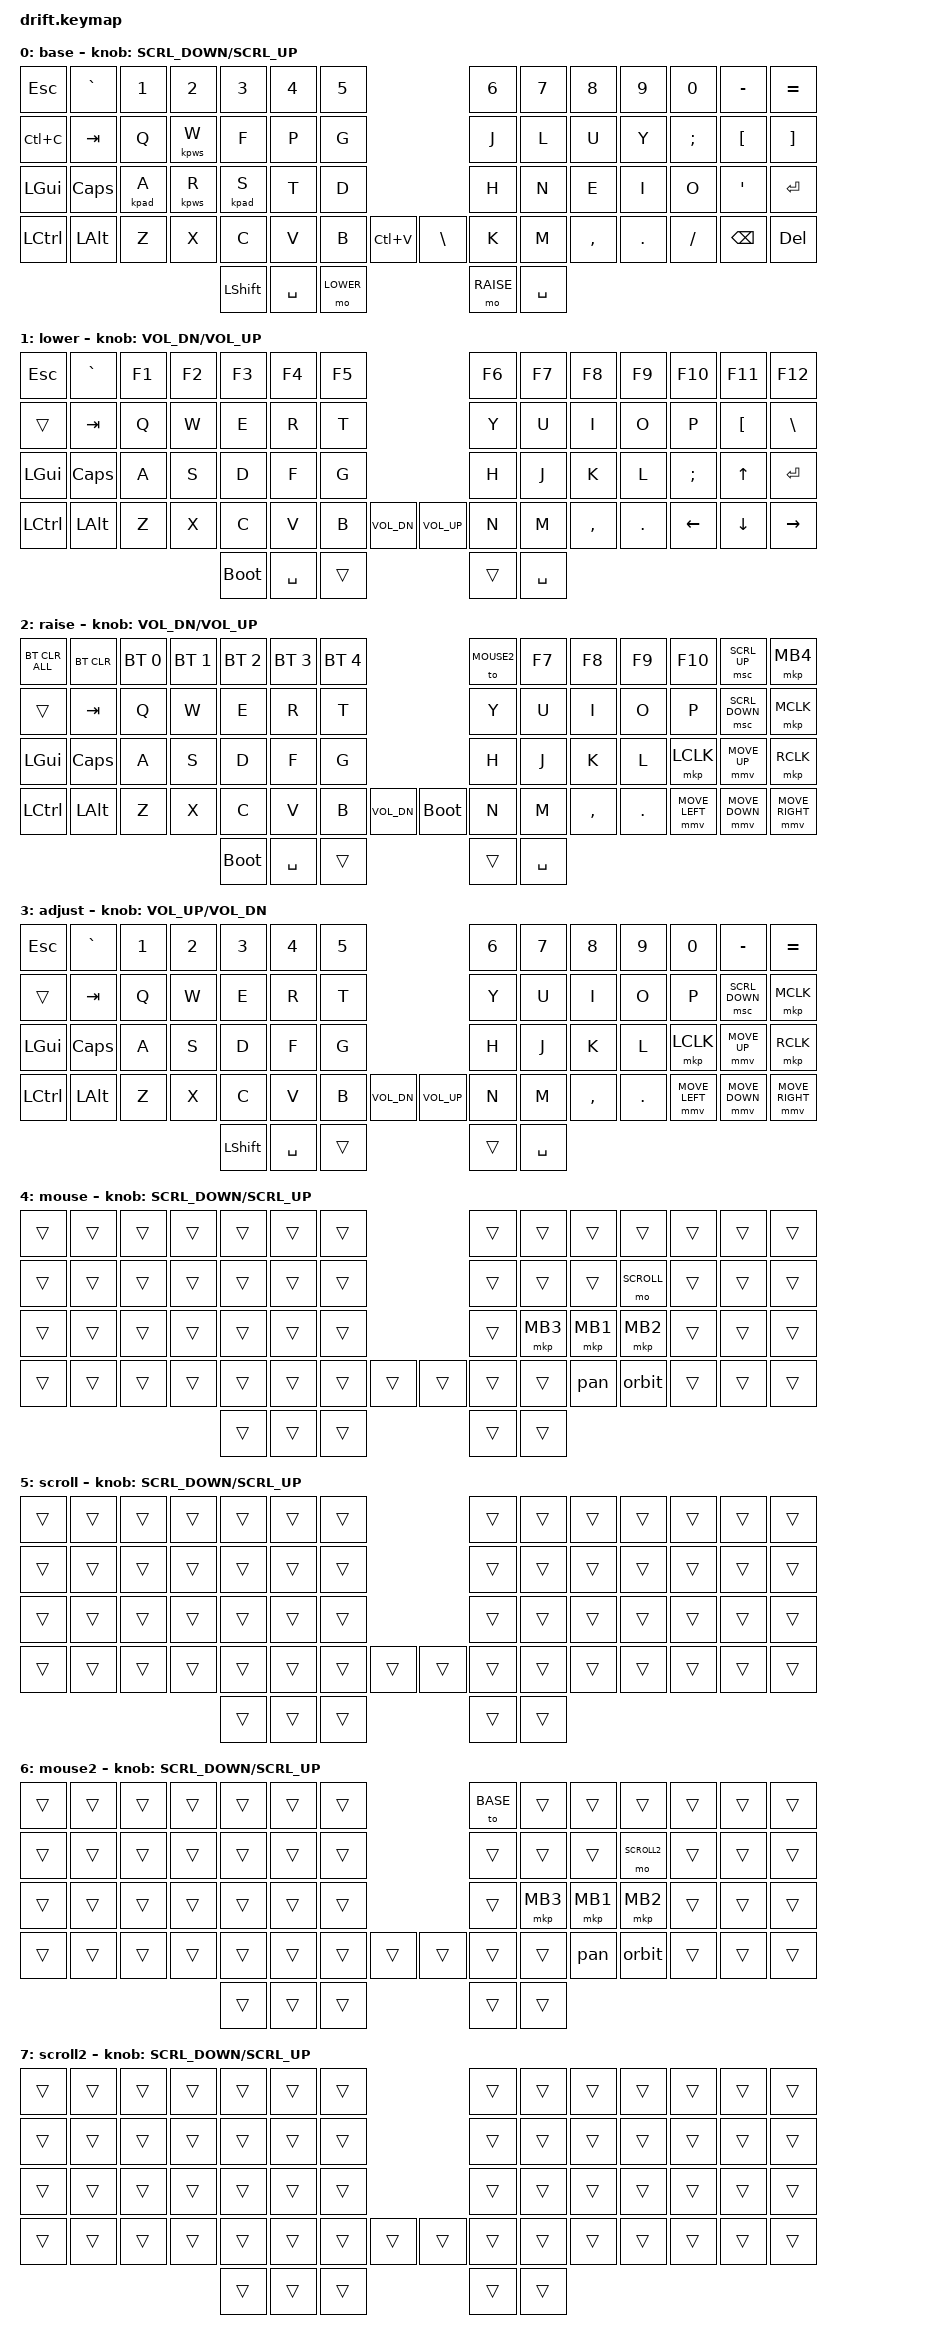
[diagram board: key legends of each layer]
// Copyright (c) 2025 The ZMK Contributors
// SPDX-License-Identifier: MIT

// Default scroll sensitivity for encoder-based scrolling
#define ZMK_POINTING_DEFAULT_SCRL_VAL 100    // default was 10

#include <behaviors.dtsi>
#include <dt-bindings/zmk/bt.h>
#include <input/processors.dtsi>
#include <dt-bindings/zmk/keys.h>
#include <dt-bindings/zmk/mouse.h>
#include <behaviors/mouse_keys.dtsi>
#include <dt-bindings/zmk/pointing.h>
#include <dt-bindings/zmk/input_transform.h>
#include <zephyr/dt-bindings/input/input-event-codes.h>

// Keep all behavior settings visible in ZMK Studio
#define ZMK_BEHAVIORS_OMIT_KT

// Layer indices
#define BASE    0
#define LOWER   1
#define RAISE   2
#define ADJUST  3
#define MOUSE   4
#define SCROLL  5
#define MOUSE2  6
#define SCROLL2 7

// Reference: https://zmk.dev/docs/keymaps/behaviors/

/ {
    conditional_layers {
        compatible = "zmk,conditional-layers";

        tri_layer {
            if-layers = <LOWER RAISE>;
            then-layer = <ADJUST>;
        };
    };

    behaviors {
        enc_scroll: enc_scroller {
            compatible = "zmk,behavior-sensor-rotate-var";
            #sensor-binding-cells = <2>;
            bindings = <&msc>, <&msc>;
            tap-ms = <20>;
        };
		
		/* Setup left and right */
        kpad: key_lip_a_d {
                compatible = "zmk,behavior-key-press-lip";
                #binding-cells = <1>;
                keycodes = <A D>;
        };

        /* Setup up and down */
        kpws: key_lip_w_s {
                compatible = "zmk,behavior-key-press-lip";
                #binding-cells = <1>;
                keycodes = <W S>;
        };
    };

    macros {
        orbit: orbit {
            compatible = "zmk,behavior-macro";
            #binding-cells = <0>;
            bindings =
                <&macro_press &kp LSHIFT &mkp MCLK>,
                <&macro_pause_for_release>,
                <&macro_release &kp LSHIFT &mkp MCLK>;
        };

        pan: pan {
            compatible = "zmk,behavior-macro";
            #binding-cells = <0>;
            bindings =
                <&macro_press &mkp MCLK>,
                <&macro_pause_for_release>,
                <&macro_release &mkp MCLK>;
        };
    };

    keymap {
        compatible = "zmk,keymap";

        // -------------------------------------------------------------------------------
        // BASE Layer
        // -------------------------------------------------------------------------------
        // | ESC | ` | 1 | 2 |  3  |  4  |  5  |         |  6  |  7  | 8 | 9 | 0 | -  | = |
        // |COPY |TAB| Q | W |  F  |  P  |  G  |         |  J  |  L  | U | Y | ; | [  | ] |
        // | GUI |CAP| A | R |  S  |  T  |  D  |         |  H  |  N  | E | I | O | '  |ENT|
        // | CTL |ALT| Z | X |  C  |  V  |  B  |Paste| \ |  K  |  M  | , | . | / |Bspc|Del|
        //                   |Shift|Space|Lower|         |Raise|Space|
        default_layer {
            display-name = "base";
            bindings = <
                &kp ESC    &kp GRAVE &kp N1   &kp N2   &kp N3    &kp N4    &kp N5                       &kp N6    &kp N7    &kp N8    &kp N9  &kp N0   &kp MINUS     &kp EQUAL
                &kp LC(C)  &kp TAB   &kp Q    &kpws W  &kp F     &kp P     &kp G                        &kp J     &kp L     &kp U     &kp Y   &kp SEMI &kp LBKT      &kp RBKT
                &kp LGUI   &kp CAPS  &kpad A  &kpws R  &kpad S   &kp T     &kp D                        &kp H     &kp N     &kp E     &kp I   &kp O    &kp SQT       &kp ENTER
                &kp LCTRL  &kp LALT  &kp Z    &kp X    &kp C     &kp V     &kp B     &kp LC(V) &kp BSLH &kp K     &kp M     &kp COMMA &kp DOT &kp FSLH &kp BACKSPACE &kp DEL
                                                       &kp LSHFT &kp SPACE &mo LOWER                    &mo RAISE &kp SPACE
            >;
            sensor-bindings = <&enc_scroll SCRL_DOWN SCRL_UP>;
        };

        // ------------------------------------------------------------------------
        // LOWER Layer
        // ------------------------------------------------------------------------
        // |Esc | ` |F1 |F2 |F3  | F4  |F5 |         |F6 |  F7 | F8 |F9 |F10|F11|F12|
        // |    |TAB| Q | W | E  |  R  | T |         | Y |  U  | I  | O | P | [ | \ |
        // |GUI |CAP| A | S | D  |  F  | G |         | H |  J  | K  | L | ; | ↑ |Ent|
        // |CTL |ALT| Z | X | C  |  V  | B |Vol-|Vol+| N |  M  | ,  | . | ← | ↓ | → |
        //                  |Boot|Space|   |         |   |Space|
        lower_layer {
            display-name = "lower";
            bindings = <
                &kp ESC   &kp GRAVE &kp F1 &kp F2 &kp F3      &kp F4    &kp F5                           &kp F6  &kp F7    &kp F8    &kp F9    &kp F10        &kp F11        &kp F12
                &trans    &kp TAB   &kp Q  &kp W  &kp E       &kp R     &kp T                            &kp Y   &kp U     &kp I     &kp O     &kp P          &kp LBKT       &kp BACKSLASH
                &kp LGUI  &kp CAPS  &kp A  &kp S  &kp D       &kp F     &kp G                            &kp H   &kp J     &kp K     &kp L     &kp SEMI       &kp UP_ARROW   &kp ENTER
                &kp LCTRL &kp LALT  &kp Z  &kp X  &kp C       &kp V     &kp B  &kp C_VOL_DN &kp C_VOL_UP &kp N   &kp M     &kp COMMA &kp DOT   &kp LEFT_ARROW &kp DOWN_ARROW &kp RIGHT_ARROW
                                                  &bootloader &kp SPACE &trans                           &trans  &kp SPACE
            >;
            sensor-bindings = <&inc_dec_kp C_VOL_DN C_VOL_UP>;
        };

        // ---------------------------------------------------------------------------
        // RAISE Layer
        // ---------------------------------------------------------------------------
        // |ClrAll|Clr|BT1|BT2|BT3 | BT4 |BT5|         |M2 | F7  |F8 |F9 |F10 |Scr↑|MB4 |
        // |      |TAB| Q | W | E  |  R  | T |         | Y |  U  | I | O | P  |Scr↓|MClk|
        // | GUI  |CAP| A | S | D  |  F  | G |         | H |  J  | K | L |LClk| ↑  |RClk|
        // | CTL  |ALT| Z | X | C  |  V  | B |Vol-|Boot| N |  M  | , | . | ←  | ↓  | →  |
        //                    |Boot|Space|   |         |   |Space|
        raise_layer {
            display-name = "raise";
            bindings = <
                &bt BT_CLR_ALL &bt BT_CLR &bt BT_SEL 0 &bt BT_SEL 1 &bt BT_SEL 2 &bt BT_SEL 3  &bt BT_SEL 4                          &to MOUSE2 &kp F7    &kp F8    &kp F9  &kp F10        &msc SCRL_UP   &mkp MB4
                &trans         &kp TAB    &kp Q        &kp W        &kp E        &kp R         &kp T                                 &kp Y      &kp U     &kp I     &kp O   &kp P          &msc SCRL_DOWN &mkp MCLK
                &kp LGUI       &kp CAPS   &kp A        &kp S        &kp D        &kp F         &kp G                                 &kp H      &kp J     &kp K     &kp L   &mkp LCLK      &mmv MOVE_UP   &mkp RCLK
                &kp LCTRL      &kp LALT   &kp Z        &kp X        &kp C        &kp V         &kp B        &kp C_VOL_DN &bootloader &kp N      &kp M     &kp COMMA &kp DOT &mmv MOVE_LEFT &mmv MOVE_DOWN &mmv MOVE_RIGHT
                                                                    &bootloader  &kp SPACE     &trans                                &trans     &kp SPACE
            >;
            sensor-bindings = <&inc_dec_kp C_VOL_DN C_VOL_UP>;
        };

        // ---------------------------------------------------------------------
        // ADJUST Layer
        // ---------------------------------------------------------------------
        // (similar layout as RAISE, but with slightly different mods)
        adjust_layer {
            display-name = "adjust";
            bindings = <
                &kp ESC    &kp GRAVE  &kp N1       &kp N2       &kp N3       &kp N4       &kp N5                                 &kp N6 &kp N7    &kp N8    &kp N9  &kp N0         &kp MINUS      &kp EQUAL
                &trans     &kp TAB    &kp Q        &kp W        &kp E        &kp R        &kp T                                  &kp Y  &kp U     &kp I     &kp O   &kp P          &msc SCRL_DOWN &mkp MCLK
                &kp LGUI   &kp CAPS   &kp A        &kp S        &kp D        &kp F        &kp G                                  &kp H  &kp J     &kp K     &kp L   &mkp LCLK      &mmv MOVE_UP   &mkp RCLK
                &kp LCTRL  &kp LALT   &kp Z        &kp X        &kp C        &kp V        &kp B        &kp C_VOL_DN &kp C_VOL_UP &kp N  &kp M     &kp COMMA &kp DOT &mmv MOVE_LEFT &mmv MOVE_DOWN &mmv MOVE_RIGHT
                                                                &kp LSHFT    &kp SPACE    &trans                                 &trans &kp SPACE
            >;
            sensor-bindings = <&inc_dec_kp C_VOL_UP C_VOL_DN>;
        };

        // ---------------------------------------------------------------------
        // MOUSE Layer
        // ---------------------------------------------------------------------
        // Mostly for orbit/pan macros + mouse buttons
		
        mouse_layer {
            display-name = "mouse";
            bindings = <
                &trans &trans &trans &trans &trans &trans &trans               &trans &trans   &trans   &trans     &trans &trans &trans
                &trans &trans &trans &trans &trans &trans &trans               &trans &trans   &trans   &mo SCROLL &trans &trans &trans
                &trans &trans &trans &trans &trans &trans &trans               &trans &mkp MB3 &mkp MB1 &mkp MB2   &trans &trans &trans
                &trans &trans &trans &trans &trans &trans &trans &trans &trans &trans &trans   &pan     &orbit     &trans &trans &trans
                                            &trans &trans &trans               &trans &trans
            >;
            sensor-bindings = <&enc_scroll SCRL_DOWN SCRL_UP>;
        };

        // SCROLL / MOUSE2  layers remain mostly transparent and is used for when you want to turn mouse mode on indefinitely (activated on RAISE Layer - "&to MOUSE2")
        
        scroll_layer {
            display-name = "scroll";
            bindings = <
                &trans &trans &trans &trans &trans &trans &trans               &trans &trans &trans &trans &trans &trans &trans
                &trans &trans &trans &trans &trans &trans &trans               &trans &trans &trans &trans &trans &trans &trans
                &trans &trans &trans &trans &trans &trans &trans               &trans &trans &trans &trans &trans &trans &trans
                &trans &trans &trans &trans &trans &trans &trans &trans &trans &trans &trans &trans &trans &trans &trans &trans
                                            &trans &trans &trans               &trans &trans
            >;
            sensor-bindings = <&enc_scroll SCRL_DOWN SCRL_UP>;
        };

        mouse2_layer {
            display-name = "mouse2";
            bindings = <
                &trans &trans &trans &trans &trans &trans &trans               &to BASE &trans   &trans   &trans      &trans &trans &trans
                &trans &trans &trans &trans &trans &trans &trans               &trans   &trans   &trans   &mo SCROLL2 &trans &trans &trans
                &trans &trans &trans &trans &trans &trans &trans               &trans   &mkp MB3 &mkp MB1 &mkp MB2    &trans &trans &trans
                &trans &trans &trans &trans &trans &trans &trans &trans &trans &trans   &trans   &pan     &orbit      &trans &trans &trans
                                            &trans &trans &trans               &trans   &trans
            >;
            sensor-bindings = <&enc_scroll SCRL_DOWN SCRL_UP>;
        };
		
		scroll2_layer {
            display-name = "scroll2";
            bindings = <
                &trans &trans &trans &trans &trans &trans &trans               &trans &trans &trans &trans &trans &trans &trans
                &trans &trans &trans &trans &trans &trans &trans               &trans &trans &trans &trans &trans &trans &trans
                &trans &trans &trans &trans &trans &trans &trans               &trans &trans &trans &trans &trans &trans &trans
                &trans &trans &trans &trans &trans &trans &trans &trans &trans &trans &trans &trans &trans &trans &trans &trans
                                            &trans &trans &trans               &trans &trans
            >;
            sensor-bindings = <&enc_scroll SCRL_DOWN SCRL_UP>;
        };
    };
};
